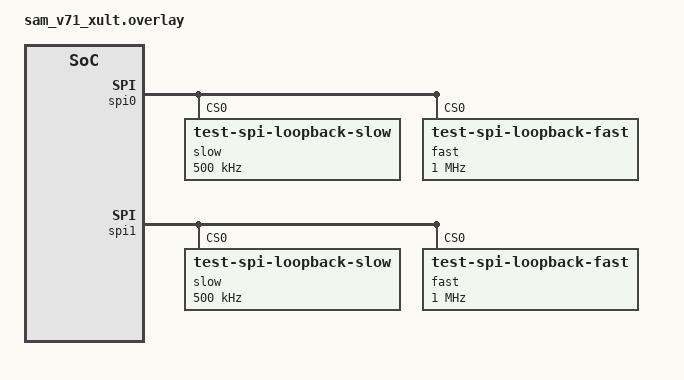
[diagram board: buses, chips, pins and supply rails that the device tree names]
/*
 * Copyright (c) 2022 Intel Corporation
 *
 * SPDX-License-Identifier: Apache-2.0
 */

 &spi0 {
	loopback;

	dmas = <&xdmac 1 DMA_PERID_SPI0_TX>, <&xdmac 2 DMA_PERID_SPI0_RX>;
	dma-names = "tx", "rx";

	slow@0 {
		compatible = "test-spi-loopback-slow";
		reg = <0>;
		spi-max-frequency = <500000>;
	};
	fast@0 {
		compatible = "test-spi-loopback-fast";
		reg = <0>;
		spi-max-frequency = <1000000>;
	};
};

&spi1 {
	loopback;

	dmas = <&xdmac 3 DMA_PERID_SPI1_TX>, <&xdmac 4 DMA_PERID_SPI1_RX>;
	dma-names = "tx", "rx";

	slow@0 {
		compatible = "test-spi-loopback-slow";
		reg = <0>;
		spi-max-frequency = <500000>;
	};
	fast@0 {
		compatible = "test-spi-loopback-fast";
		reg = <0>;
		spi-max-frequency = <1000000>;
	};
};
